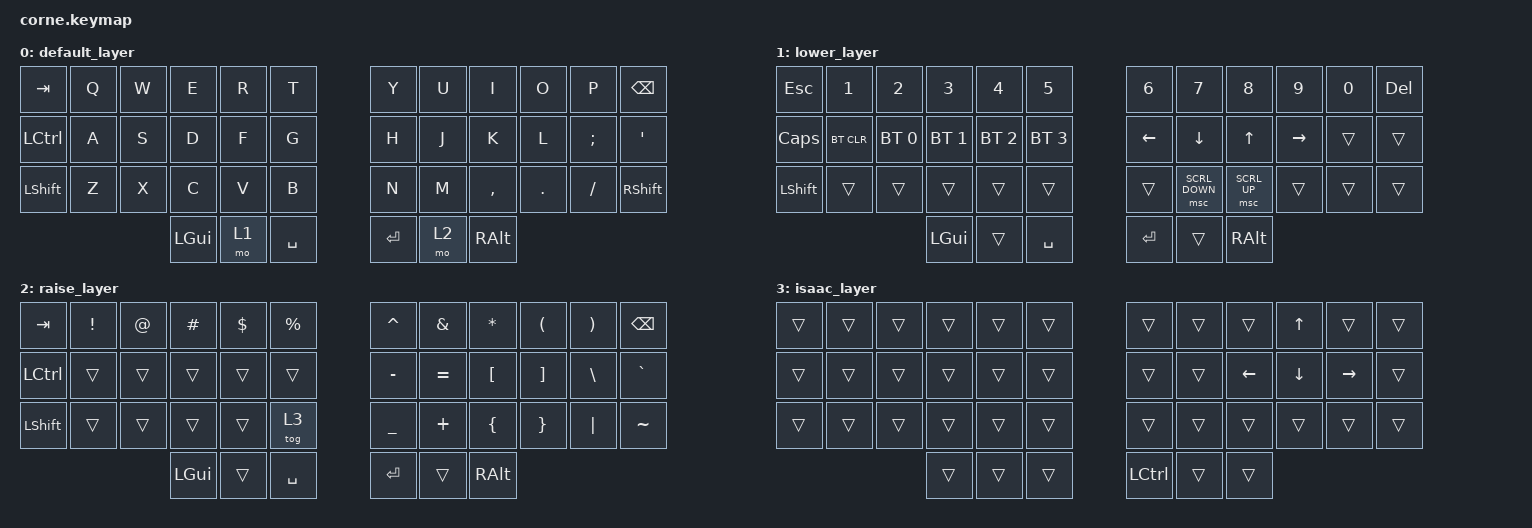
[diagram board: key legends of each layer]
/*
 * Copyright (c) 2020 The ZMK Contributors
 *
 * SPDX-License-Identifier: MIT
 */

#include <behaviors.dtsi>
#include <dt-bindings/zmk/keys.h>
#include <dt-bindings/zmk/bt.h>
#include <dt-bindings/zmk/pointing.h>

/ {
        keymap {
                compatible = "zmk,keymap";

                default_layer {
// -----------------------------------------------------------------------------------------
// |  TAB |  Q  |  W  |  E  |  R  |  T  |   |  Y  |  U   |  I  |  O  |  P  | BSPC |
// | CTRL |  A  |  S  |  D  |  F  |  G  |   |  H  |  J   |  K  |  L  |  ;  |  '   |
// | SHFT |  Z  |  X  |  C  |  V  |  B  |   |  N  |  M   |  ,  |  .  |  /  | RSHFT  |
//                    | GUI | LWR | SPC |   | ENT | RSE  | ALT |
                        bindings = <
   &kp TAB   &kp Q &kp W &kp E &kp R &kp T   &kp Y &kp U  &kp I     &kp O   &kp P    &kp BSPC
   &kp LCTRL &kp A &kp S &kp D &kp F &kp G   &kp H &kp J  &kp K     &kp L   &kp SEMI &kp SQT
   &kp LSHFT &kp Z &kp X &kp C &kp V &kp B   &kp N &kp M  &kp COMMA &kp DOT &kp FSLH &kp RSHFT
                  &kp LGUI &mo 1 &kp SPACE   &kp RET &mo 2 &kp RALT
                        >;
                };
                lower_layer {
// -----------------------------------------------------------------------------------------
// |  ESC |  1  |  2  |  3  |  4  |  5  |   |  6  |  7  |  8  |  9  |  0  |  DEL |
// | CAPS |BTCLR| BT1 | BT2 | BT3 | BT4 |   | LFT | DWN |  UP | RGT |     |      |
// | SHFT |     |     |     |     |     |   |     | SCD | SCU |     |     |      |
//                    | GUI |     | SPC |   | ENT |     | ALT |
                        bindings = <
   &kp ESC    &kp N1       &kp N2       &kp N3       &kp N4       &kp N5         &kp N6   &kp N7   &kp N8 &kp N9    &kp N0 &kp DEL
   &kp CAPS   &bt BT_CLR   &bt BT_SEL 0 &bt BT_SEL 1 &bt BT_SEL 2 &bt BT_SEL 3   &kp LEFT &kp DOWN &kp UP &kp RIGHT &trans &trans
   &kp LSHFT  &trans       &trans       &trans       &trans       &trans         &trans   &msc SCRL_DOWN  &msc SCRL_UP &trans    &trans &trans
                                    &kp LGUI     &trans       &kp SPACE      &kp RET  &trans   &kp RALT
                        >;
                };

                raise_layer {
// -----------------------------------------------------------------------------------------
// |  TAB |  !  |  @  |  #  |  $  |  %  |   |  ^  |  &  |  *  |  (  |  )  | BSPC |
// | CTRL |     |     |     |     |     |   |  -  |  =  |  [  |  ]  |  \  |  `   |
// | SHFT |     |     |     |     |TOG_3|   |  _  |  +  |  {  |  }  | "|" |  ~   |
//                    | GUI |     | SPC |   | ENT |     | ALT |
                        bindings = <
   &kp  TAB  &kp EXCL &kp AT &kp HASH &kp DLLR &kp PRCNT   &kp CARET &kp AMPS  &kp ASTRK &kp LPAR &kp RPAR &kp BSPC
   &kp LCTRL &trans   &trans &trans   &trans   &trans      &kp MINUS &kp EQUAL &kp LBKT  &kp RBKT &kp BSLH &kp GRAVE
   &kp LSHFT &trans   &trans &trans   &trans   &tog 3      &kp UNDER &kp PLUS  &kp LBRC  &kp RBRC &kp PIPE &kp TILDE
                             &kp LGUI &trans   &kp SPACE   &kp RET   &trans    &kp RALT
                        >;
                };

                isaac_layer {
// ------------------------------------------------------------------------------------------
// |      |     |     |     |     |     |   |     |     |     |  UP |     |      |
// |      |     |     |     |     |     |   |     |     | LFT | DWN | RGT |      |
// |      |     |     |     |     |     |   |     |     |     |     |     |      |
//                    |     |     |     |   |LCTRL|     |     |
                        bindings = <
   &trans &trans &trans &trans &trans &trans   &trans &trans &trans   &kp UP   &trans    &trans
   &trans &trans &trans &trans &trans &trans   &trans &trans &kp LEFT &kp DOWN &kp RIGHT &trans
   &trans &trans &trans &trans &trans &trans   &trans &trans &trans   &trans   &trans    &trans
                        &trans &trans &trans   &kp LCTRL &trans &trans
                        >;
                };
        };
};
